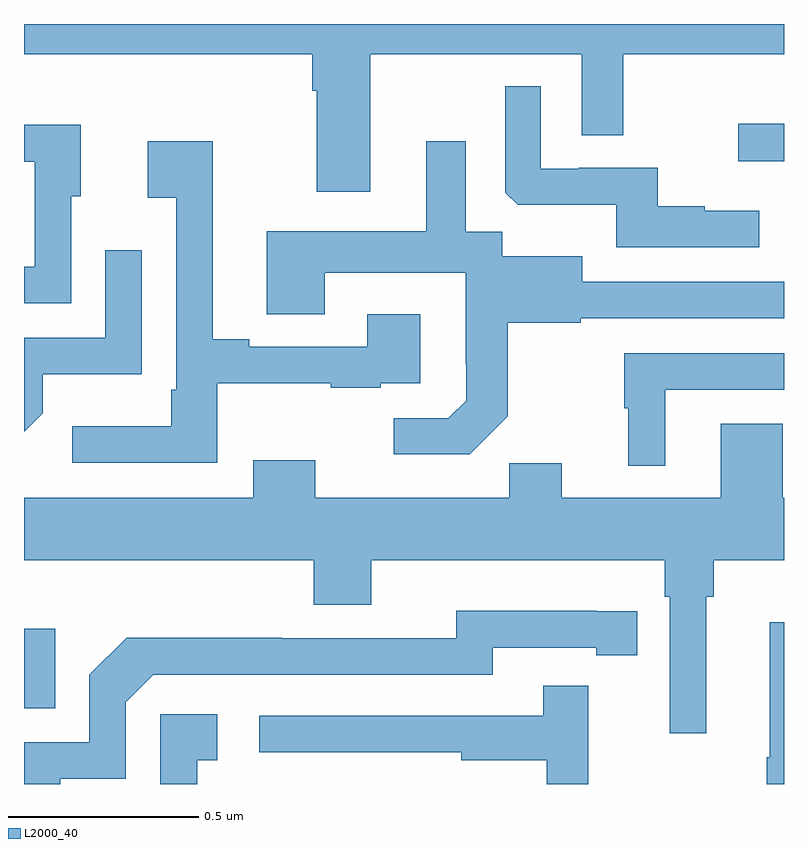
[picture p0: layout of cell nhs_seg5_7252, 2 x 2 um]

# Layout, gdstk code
import gdstk
lib = gdstk.Library(unit=1e-6, precision=1e-09)
def R(c, l, rs):  # rectangles x0, y0, x1, y1
    for r in rs: c.add(gdstk.rectangle(r[:2], r[2:], *l))
def P(c, l, *ps):  # polygons
    for p in ps: c.add(gdstk.Polygon(p, *l))
L2000_40 = (2000, 40)

nhs_seg5_7252 = lib.new_cell('nhs_seg5_7252')
R(nhs_seg5_7252, L2000_40, [(206,894.999,206.082,895.207), (207.879,896.438,208,896.537)])
P(nhs_seg5_7252, L2000_40, [(206.911,896.72),(207.468,896.72),(207.468,896.506),(207.577,896.506),(207.577,896.72),(208,896.72),(208,896.799),(206,896.799),(206,896.72),(206.759,896.72),(206.759,896.624),(206.771,896.624),(206.771,896.358),(206.911,896.358)],
  [(207.935,896.308),(207.791,896.308),(207.791,896.32),(207.668,896.32),(207.668,896.421),(207.46,896.421),(207.46,896.418),(207.36,896.418),(207.36,896.635),(207.267,896.635),(207.267,896.355),(207.299,896.324),(207.558,896.324),(207.558,896.211),(207.935,896.211)],
  [(206.124,896.346),(206.149,896.346),(206.149,896.534),(206,896.534),(206,896.436),(206.028,896.436),(206.028,896.16),(206,896.16),(206,896.064),(206.124,896.064)],
  [(206.509,895.853),(206.807,895.853),(206.807,895.842),(206.939,895.842),(206.939,895.854),(207.043,895.854),(207.043,896.035),(206.903,896.035),(206.903,895.95),(206.593,895.95),(206.593,895.969),(206.497,895.969),(206.497,896.491),(206.325,896.491),(206.325,896.342),(206.4,896.342),(206.4,895.837),(206.388,895.837),(206.388,895.741),(206.127,895.741),(206.127,895.644),(206.509,895.644)],
  [(207.273,895.767),(207.273,896.013),(207.465,896.013),(207.465,896.025),(208,896.025),(208,896.121),(207.469,896.121),(207.469,896.188),(207.258,896.188),(207.258,896.252),(207.163,896.252),(207.163,896.491),(207.059,896.491),(207.059,896.254),(206.639,896.254),(206.639,896.035),(206.791,896.035),(206.791,896.144),(207.162,896.144),(207.162,895.903),(207.164,895.903),(207.164,895.808),(207.117,895.761),(206.973,895.761),(206.973,895.667),(207.173,895.667)],
  [(206.049,895.775),(206.049,895.877),(206.31,895.877),(206.31,896.203),(206.214,896.203),(206.214,895.974),(206,895.974),(206,895.726)],
  [(207.688,895.836),(208,895.836),(208,895.932),(207.579,895.932),(207.579,895.788),(207.59,895.788),(207.59,895.637),(207.688,895.637)],
  [(207.796,895.292),(207.815,895.292),(207.815,895.388),(208,895.388),(208,895.552),(207.997,895.552),(207.997,895.747),(207.833,895.747),(207.833,895.552),(207.415,895.552),(207.415,895.643),(207.277,895.643),(207.277,895.552),(206.767,895.552),(206.767,895.651),(206.603,895.651),(206.603,895.552),(206,895.552),(206,895.388),(206.762,895.388),(206.762,895.271),(206.914,895.271),(206.914,895.388),(207.686,895.388),(207.686,895.292),(207.699,895.292),(207.699,894.933),(207.796,894.933)],
  [(206.095,894.813),(206.268,894.813),(206.268,895.014),(206.34,895.086),(207.234,895.086),(207.234,895.158),(207.506,895.158),(207.506,895.138),(207.614,895.138),(207.614,895.254),(207.506,895.254),(207.506,895.255),(207.138,895.255),(207.138,895.182),(206.678,895.182),(206.678,895.184),(206.27,895.184),(206.172,895.086),(206.172,894.909),(206,894.909),(206,894.799),(206.095,894.799)],
  [(208,895.225),(207.962,895.225),(207.962,894.869),(207.955,894.869),(207.955,894.799),(208,894.799)],
  [(207.485,895.057),(207.367,895.057),(207.367,894.978),(206.619,894.978),(206.619,894.882),(207.151,894.882),(207.151,894.862),(207.375,894.862),(207.375,894.799),(207.485,894.799)],
  [(206.456,894.861),(206.509,894.861),(206.509,894.982),(206.358,894.982),(206.358,894.799),(206.456,894.799)])

lib.write_gds('nhs_seg5_7252.gds')
